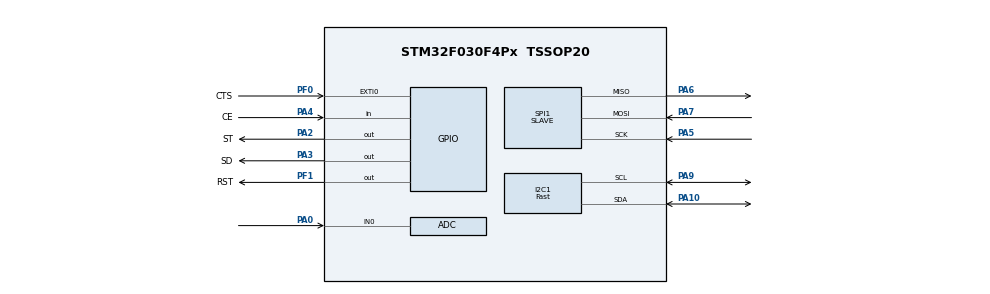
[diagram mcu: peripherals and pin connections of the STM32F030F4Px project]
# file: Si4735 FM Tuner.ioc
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ADC.ClockPrescaler=ADC_CLOCK_ASYNC_DIV1
ADC.ContinuousConvMode=ENABLE
ADC.EnableAnalogWatchDog=true
ADC.HighThreshold=3100
ADC.ITMode=ENABLE
ADC.LowThreshold=1200
ADC.Overrun=ADC_OVR_DATA_OVERWRITTEN
ADC.SamplingTime=ADC_SAMPLETIME_55CYCLES_5
I2C1.Analog_Filter=I2C_ANALOGFILTER_ENABLE
I2C1.I2C_Fall_Time=0
I2C1.I2C_Rise_Time=0
I2C1.I2C_Speed_Mode=I2C_Fast
I2C1.NoStretchMode=I2C_NOSTRETCH_DISABLE
I2C1.Speed=400
I2C1.Timing=0x0000020B
Mcu.Family=STM32F0
Mcu.Name=STM32F030F4Px
Mcu.Package=TSSOP20
NVIC.ADC1_IRQn=true\:0\:0\:false\:false\:true\:true\:true
NVIC.EXTI0_1_IRQn=true\:3\:0\:true\:false\:true\:true\:true
NVIC.SPI1_IRQn=true\:1\:0\:true\:false\:false\:true\:true
PA0.Mode=IN0
PA0.Signal=ADC_IN0
PA10.GPIO_FMA10=__NULL
PA10.GPIO_Mode=GPIO_MODE_AF_OD
PA10.GPIO_PuPdOD=GPIO_PULLUP
PA10.GPIO_Speed=GPIO_SPEED_FREQ_HIGH
PA10.Mode=I2C
PA10.Signal=I2C1_SDA
PA2.GPIO_Label=ST
PA2.GPIO_ModeDefaultOutputPP=GPIO_MODE_OUTPUT_PP
PA2.GPIO_PuPd=GPIO_NOPULL
PA2.GPIO_Speed=GPIO_SPEED_FREQ_LOW
PA2.PinState=GPIO_PIN_RESET
PA2.Signal=GPIO_Output
PA3.GPIO_Label=SD
PA3.GPIO_ModeDefaultOutputPP=GPIO_MODE_OUTPUT_PP
PA3.GPIO_PuPd=GPIO_NOPULL
PA3.GPIO_Speed=GPIO_SPEED_FREQ_LOW
PA3.PinState=GPIO_PIN_RESET
PA3.Signal=GPIO_Output
PA4.GPIO_Label=CE
PA4.GPIO_Mode=GPIO_MODE_INPUT
PA4.GPIO_PuPd=GPIO_NOPULL
PA4.Signal=GPIO_Input
PA5.GPIO_Mode=GPIO_MODE_AF_PP
PA5.GPIO_PuPd=GPIO_NOPULL
PA5.GPIO_Speed=GPIO_SPEED_FREQ_HIGH
PA5.Mode=Full_Duplex_Slave
PA5.Signal=SPI1_SCK
PA6.GPIO_Mode=GPIO_MODE_AF_PP
PA6.GPIO_PuPd=GPIO_NOPULL
PA6.GPIO_Speed=GPIO_SPEED_FREQ_HIGH
PA6.Mode=Full_Duplex_Slave
PA6.Signal=SPI1_MISO
PA7.GPIO_Mode=GPIO_MODE_AF_PP
PA7.GPIO_PuPd=GPIO_NOPULL
PA7.GPIO_Speed=GPIO_SPEED_FREQ_HIGH
PA7.Mode=Full_Duplex_Slave
PA7.Signal=SPI1_MOSI
PA9.GPIO_FMA9=__NULL
PA9.GPIO_Mode=GPIO_MODE_AF_OD
PA9.GPIO_PuPdOD=GPIO_PULLUP
PA9.GPIO_Speed=GPIO_SPEED_FREQ_HIGH
PA9.Mode=I2C
PA9.Signal=I2C1_SCL
PB1.GPIO_Label=RDS
PB1.Signal=TIM1_CH3N
PF0-OSC_IN.GPIO_Label=CTS
PF0-OSC_IN.GPIO_ModeDefaultEXTI=GPIO_MODE_IT_RISING
PF0-OSC_IN.GPIO_PuPd=GPIO_NOPULL
PF0-OSC_IN.Signal=GPXTI0
PF1-OSC_OUT.GPIO_Label=RST
PF1-OSC_OUT.GPIO_ModeDefaultOutputPP=GPIO_MODE_OUTPUT_PP
PF1-OSC_OUT.GPIO_PuPd=GPIO_NOPULL
PF1-OSC_OUT.GPIO_Speed=GPIO_SPEED_FREQ_LOW
PF1-OSC_OUT.PinState=GPIO_PIN_RESET
PF1-OSC_OUT.Signal=GPIO_Output
ProjectManager.HeapSize=0x200
ProjectManager.StackSize=0x400
ProjectManager.TargetToolchain=EWARM V8
RCC.I2c1ClockSelection=RCC_I2C1CLKSOURCE_SYSCLK
SPI1.CLKPhase=SPI_PHASE_2EDGE
SPI1.CLKPolarity=SPI_POLARITY_HIGH
SPI1.DataSize=SPI_DATASIZE_8BIT
SPI1.Direction=SPI_DIRECTION_2LINES
SPI1.FirstBit=SPI_FIRSTBIT_LSB
SPI1.Mode=SPI_MODE_SLAVE
SPI1.VirtualType=VM_SLAVE
board=custom

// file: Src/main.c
/* USER CODE BEGIN Header */
/**
  ******************************************************************************
  * @file           : main.c
  * @brief          : Main program body
  ******************************************************************************
  * @attention
  *
  * <h2><center>&copy; Copyright (c) 2019 STMicroelectronics.
  * All rights reserved.</center></h2>
  *
  * This software component is licensed by ST under BSD 3-Clause license,
  * the "License"; You may not use this file except in compliance with the
  * License. You may obtain a copy of the License at:
  *                        opensource.org/licenses/BSD-3-Clause
  *
  ******************************************************************************
  */
/* USER CODE END Header */

#include "main.h"

/* USER CODE BEGIN Includes */
#include "stdbool.h"
/* USER CODE END Includes */

/* USER CODE BEGIN PTD */
typedef struct
{
  uint8_t address;
  uint8_t data[3];
} ccb_t;

typedef enum
{
  MONO,
  STEREO
} tuner_mode;
/* USER CODE END PTD */

/* USER CODE BEGIN PD */

//#define __CCB_DEBUG__
//#define __RADIO_DEBUG__

#define radio_request_address 0x22
#define radio_response_address 0x23
#define radio_io_timeout 10
#define radio_force_mono_threshold 0x7F
#define radio_default_stereo_threshold 0x0E
#define virtual_if_frequency 10650
#define stereo_detection_delay 1000
#define radio_stc_poll_interval 10
#define radio_rsq_poll_interval 300
#define radio_rds_poll_interval 2000
/* USER CODE END PD */

ADC_HandleTypeDef hadc;

I2C_HandleTypeDef hi2c1;

/* USER CODE BEGIN PV */
const uint8_t radio_power_up[]                        =   {0x01, 0xD0, 0x05}; // startup, GPO2/CTS enabled, XOSC enabled, fm reeceive, analog output
const uint8_t radio_fm_deemphasis[]                   =   {0x12, 0x00, 0x11, 0x00, 0x00, 0x01}; // de-emphasis = 50us
const uint8_t radio_fm_rds_int_source[]               =   {0x12, 0x00, 0x15, 0x00, 0x00, 0x01}; // generate RDSINT when RDS FIFO has at least FM_RDS_INT_FIFO_COUNT entries
const uint8_t radio_fm_rds_int_fifo_count[]           =   {0x12, 0x00, 0x15, 0x01, 0x00, 0x04}; // FM_RDS_INT_FIFO_COUNT = 4
const uint8_t radio_fm_rds_config[]                   =   {0x12, 0x00, 0x15, 0x02, 0x00, 0x01}; // RDS processing enabled
const uint8_t radio_get_int_status[]                  =   {0x14}; // wait for tune completion
const uint8_t radio_fm_rsq_status[]                   =   {0x23, 0x00};
const uint8_t radio_fm_rds_status[]                   =   {0x24, 0x01};
const uint8_t radio_fm_tune_status[]                  =   {0x22, 0x01}; // clear STCINT bit
const uint8_t ccb_if_counter[]                        =   {0x58, 0x66, 0x81}; // bit-reversed from 0x1A6680+1 (IF=10,65MHz, real value readed from my Technics SA-EH570)
//const uint8_t ccb_if_counter[]                        =   {0x58, 0xCE, 0x80}; // bit-reversed from 0x1A7300+1 (IF=10,7MHz)

uint8_t radio_fm_tune_freq[]                          =   {0x20, 0x00, 0x29, 0x7C, 0x00};
uint8_t radio_fm_blend_snr_mono_threshold[]           =   {0x12, 0x00, 0x18, 0x05, 0x00, 0x0E};
uint8_t radio_response[16];

volatile uint8_t* radio_response_data = 0;
volatile uint8_t radio_response_size = 0;
volatile bool radio_cts = false;
bool radio_tuned = true;

uint32_t tuner_frequency_new = 0;
uint32_t tuner_frequency_prev = 0;
tuner_mode tuner_mode_new = STEREO;
tuner_mode tuner_mode_prev = STEREO;
uint32_t stereo_detection_delay_counter = 0;
bool stereo_detection_enabled = false;

volatile ccb_t ccb;
volatile uint32_t ccb_bytes_received = 0;
ccb_t ccb_snapshot;
uint32_t ccb_bytes_snapshot;

HAL_StatusTypeDef status;

#ifdef __CCB_DEBUG__
uint8_t ccb_captured_data[36];
#endif
/* USER CODE END PV */

void SystemClock_Config(void);
static void MX_GPIO_Init(void);
static void MX_ADC_Init(void);
static void MX_I2C1_Init(void);
static void MX_SPI1_Init(void);

/* USER CODE BEGIN 0 */
void radio_reset( bool enabled )
{
  HAL_GPIO_WritePin( RST_GPIO_Port, RST_Pin, enabled ? GPIO_PIN_RESET : GPIO_PIN_SET );
}

void carrier_detected( bool detected )
{
  // set SD=0 to indicate that the carrier is detected
  HAL_GPIO_WritePin( SD_GPIO_Port, SD_Pin, detected ? GPIO_PIN_RESET : GPIO_PIN_SET );
}

void stereo_indicator( bool enabled )
{
  // DO/ST line has two main purposes:
  // 1) stereo indicator when radio is tuned (ST=0 when stereo subcarrier is detected)
  // 2) IF counter stop flag when radio tune is in progress (DO=0 when counter is stopped)
  HAL_GPIO_WritePin( ST_GPIO_Port, ST_Pin, enabled ? GPIO_PIN_RESET : GPIO_PIN_SET );
}

HAL_StatusTypeDef radio_request( const uint8_t *request_data, uint8_t request_size, uint8_t *response_data, uint8_t response_size )
{
  HAL_StatusTypeDef status = HAL_ERROR;
  radio_cts = false;

  if( request_data && request_size )
    status = HAL_I2C_Master_Transmit( &hi2c1, radio_request_address, (uint8_t*) request_data, request_size, radio_io_timeout );

  while( !radio_cts );

  if( response_data && response_size && status == HAL_OK )
  {
    status = HAL_I2C_Master_Receive( &hi2c1, radio_response_address, response_data, response_size, radio_io_timeout );

    // There is a bug in the HAL_I2C_Master_Receive(). This function can return fake HAL_TIMEOUT error if there was a small
    // delay (e.g. systick interrupt) between RXNE and STOPF polling in the I2C_WaitOnRXNEFlagUntilTimeout().
    // To work it around we need to read RX byte, place it to the last byte of the response_data, and safely ignore the error
    if( status == HAL_TIMEOUT &&  HAL_I2C_GetError(&hi2c1) == HAL_I2C_ERROR_NONE )
    {
      response_data[response_size-1] = hi2c1.Instance->RXDR;
      status = HAL_OK;
    }
  }

  return( status );
}

void HAL_ADC_LevelOutOfWindowCallback( ADC_HandleTypeDef* hadc )
{
  // input voltage is out of range, going to the radio reset
  radio_reset( true );
  while(1);
}

void HAL_GPIO_EXTI_Callback( uint16_t GPIO_Pin )
{
  if( GPIO_Pin == CTS_Pin )
    radio_cts = true;
}

void SPI1_IRQHandler()
{
  if( HAL_GPIO_ReadPin( CE_GPIO_Port, CE_Pin ) == GPIO_PIN_RESET ) // address
  {
    ccb.address = LL_SPI_ReceiveData8( SPI1 );
    ccb_bytes_received = 0;
  }
  else // data
  {
    if( ccb_bytes_received < 3 )
    {
      ccb.data[ccb_bytes_received] = LL_SPI_ReceiveData8( SPI1 );
      ccb_bytes_received++;
    }
  }
}
/* USER CODE END 0 */

int main(void)
{

  /* MCU Configuration--------------------------------------------------------*/

  /* Reset of all peripherals, Initializes the Flash interface and the Systick. */
  HAL_Init();

  /* Configure the system clock */
  SystemClock_Config();

  /* Initialize all configured peripherals */
  MX_GPIO_Init();
  MX_ADC_Init();
  MX_I2C1_Init();
  MX_SPI1_Init();
  /* USER CODE BEGIN 2 */

#if !defined __CCB_DEBUG__ && !defined __RADIO_DEBUG__
  // CCB is not fully compatible with SPI
  // so we need to adjust SPI polarity and phase manually to work correctly
  // in cases of 1) normal system startup and 2) MCU debug/reset
  LL_SPI_SetClockPolarity( SPI1, LL_SPI_POLARITY_LOW );
  LL_SPI_SetClockPhase( SPI1, LL_SPI_PHASE_1EDGE );
#endif

  LL_SPI_Enable( SPI1 ); // Enable SPI as soon as possible to keep the bus in sync with the main CPU
  LL_SPI_EnableIT_RXNE( SPI1 );
  LL_SPI_TransmitData8( SPI1, 0xFF ); // switch MISO/DO to high level as a default
  stereo_indicator( false );

  HAL_Delay( 100 ); // delay for correct radio powerup
  HAL_ADCEx_Calibration_Start( &hadc );
  HAL_ADC_Start( &hadc ); // enable power monitor

  //HAL_TIMEx_PWMN_Start( &htim1, TIM_CHANNEL_3 );

  radio_reset( false ); // enable radio
  HAL_Delay( 1 );

  status = radio_request( radio_power_up, sizeof(radio_power_up), radio_response, 1 );
  HAL_Delay( 500 ); // awaiting for crystal startup
  status = radio_request( radio_fm_tune_freq, sizeof(radio_fm_tune_freq), radio_response, 1 );

  do
    status = radio_request( radio_get_int_status, sizeof(radio_get_int_status), radio_response, 1 );
  while( radio_response[0] != 0x81 );

  status = radio_request( radio_fm_tune_status, sizeof(radio_fm_tune_status), radio_response, 8 );
  status =   radio_request( radio_fm_deemphasis, sizeof(radio_fm_deemphasis), radio_response, 1 );
  HAL_Delay( 10 ); // delay needed after each set_property command

//  status = radio_request( radio_fm_rds_config, sizeof(radio_fm_rds_config), radio_response, 1 );
//  HAL_Delay( 10 ); // delay needed after each set_property command
//
//  status = radio_request( radio_fm_rds_int_source, sizeof(radio_fm_rds_int_source), radio_response, 1 );
//  HAL_Delay( 10 ); // delay needed after each set_property command
//
//  status = radio_request( radio_fm_rds_int_fifo_count, sizeof(radio_fm_rds_int_fifo_count), radio_response, 1 );
//  HAL_Delay( 10 ); // delay needed after each set_property command

#ifdef __CCB_DEBUG__
  uint32_t i = 0;
  LL_SPI_DisableIT_RXNE( SPI1 );

  while(1)
  {
    // use ST-LINK debugger to stop the loop and show captured data
    if( LL_SPI_GetRxFIFOLevel(SPI1) != LL_SPI_RX_FIFO_EMPTY )
    {
      ccb_captured_data[i++] = LL_SPI_ReceiveData8( SPI1 );

      if( i == sizeof(ccb_captured_data) )
        i = 0;
    }
  };
#endif

#ifdef __RADIO_DEBUG__
  while(1)
  {
    // use ST-LINK debugger to stop the loop and show requested RSQ data
    status = radio_request( radio_fm_rsq_status, sizeof(radio_fm_rsq_status), radio_response, 8 );
    HAL_Delay( 500 );
//    status = radio_request( radio_get_int_status, sizeof(radio_get_int_status), radio_response, 1 );
//    status = radio_request( radio_fm_rds_status, sizeof(radio_fm_rds_status), radio_response, 13 );
  }
#endif
  /* USER CODE END 2 */

  /* Infinite loop */
  while (1)
  {

    /* USER CODE BEGIN 3 */
    __disable_irq();
      *(uint32_t*) &ccb_snapshot = *(uint32_t*) &ccb; // fast atomic 32-bit copy
      ccb_bytes_snapshot = ccb_bytes_received;
    __enable_irq();

    if( ccb_snapshot.address == 0x2A ) // IF counter read requested
    {
      ccb.address = 0;
      stereo_indicator( false );

      LL_SPI_TransmitData8( SPI1, ccb_if_counter[0] );
      LL_SPI_TransmitData8( SPI1, ccb_if_counter[1] );
      LL_SPI_TransmitData8( SPI1, ccb_if_counter[2] );
    }

    if( ccb_bytes_snapshot == 3 )
    {
      ccb.address = 0;

      if( ccb_snapshot.address == 0x29 && ccb_snapshot.data[1] == 0x00 && ccb_snapshot.data[2] == 0x13 ) // mono/stereo selection performed
      {
        switch( ccb_snapshot.data[0] )
        {
        case 0xAF: // force mono
          tuner_mode_new = MONO;

          if( tuner_mode_new != tuner_mode_prev )
          {
            tuner_mode_prev = tuner_mode_new;
            radio_fm_blend_snr_mono_threshold[5] = radio_force_mono_threshold;
            status = radio_request( radio_fm_blend_snr_mono_threshold, sizeof(radio_fm_blend_snr_mono_threshold), radio_response, 1 );
          }
          break;

        case 0xA7: // auto
          tuner_mode_new = STEREO;

          if( tuner_mode_new != tuner_mode_prev )
          {
            tuner_mode_prev = tuner_mode_new;
            radio_fm_blend_snr_mono_threshold[5] = radio_default_stereo_threshold;
            status = radio_request( radio_fm_blend_snr_mono_threshold, sizeof(radio_fm_blend_snr_mono_threshold), radio_response, 1 );
          }
          break;
        }
      }

      if( ccb_snapshot.address == 0x28 && ccb_snapshot.data[2] == 0x3B ) // tuner frequency set
      {
        tuner_frequency_new = ccb_snapshot.data[0] + (ccb_snapshot.data[1] << 8);

        if( tuner_frequency_new != tuner_frequency_prev )
        {
          tuner_frequency_prev = tuner_frequency_new;

          tuner_frequency_new = (tuner_frequency_new * 25 * 2 - virtual_if_frequency) / 10;
          radio_fm_tune_freq[2] = (tuner_frequency_new >> 8) & 0xFF;
          radio_fm_tune_freq[3] = tuner_frequency_new & 0xFF;
          status = radio_request( radio_fm_tune_freq, sizeof(radio_fm_tune_freq), radio_response, 1 );

          carrier_detected( false );
          stereo_indicator( false );
          radio_tuned = false;
          stereo_detection_enabled = false;
          stereo_detection_delay_counter = HAL_GetTick();
        }
      }

      if( ccb_snapshot.address == 0x28 && ccb_snapshot.data[2] == 0x3F ) // IF count started
      {
        stereo_indicator( true ); // here used as IF counter stop flag, triggers IF counter read operation
      }
    }

    if( !radio_tuned && (HAL_GetTick() % radio_stc_poll_interval == 0) )
    {
      status = radio_request( radio_get_int_status, sizeof(radio_get_int_status), radio_response, 1 );

      if( radio_response[0] & 0x01 ) // check STCINT
      {
        radio_tuned = true;
        status = radio_request( radio_fm_tune_status, sizeof(radio_fm_tune_status), radio_response, 8 );

        if( (radio_response[1] & 0x03) == 0x01 ) // AFCRL=0, VALID=1
          carrier_detected( true );
      }
    }

    if( radio_tuned && !stereo_detection_enabled && (HAL_GetTick() - stereo_detection_delay_counter > stereo_detection_delay) )
      stereo_detection_enabled = true;

    if( stereo_detection_enabled && (HAL_GetTick() % radio_rsq_poll_interval == 0) )
    {
      status = radio_request( radio_fm_rsq_status, sizeof(radio_fm_rsq_status), radio_response, 8 );
      stereo_indicator( radio_response[3] > 0x80 );
    }

    if( stereo_detection_enabled && (HAL_GetTick() % radio_rds_poll_interval == 0) )
    {
      // status = radio_request( radio_fm_rds_status, sizeof(radio_fm_rds_status), radio_response, 13 );
    }

    HAL_PWR_EnterSLEEPMode( PWR_MAINREGULATOR_ON, PWR_SLEEPENTRY_WFI );
  }
  /* USER CODE END 3 */
}

void SystemClock_Config(void)
{
  RCC_OscInitTypeDef RCC_OscInitStruct = {0};
  RCC_ClkInitTypeDef RCC_ClkInitStruct = {0};
  RCC_PeriphCLKInitTypeDef PeriphClkInit = {0};

  /** Initializes the CPU, AHB and APB busses clocks
  */
  RCC_OscInitStruct.OscillatorType = RCC_OSCILLATORTYPE_HSI|RCC_OSCILLATORTYPE_HSI14;
  RCC_OscInitStruct.HSIState = RCC_HSI_ON;
  RCC_OscInitStruct.HSI14State = RCC_HSI14_ON;
  RCC_OscInitStruct.HSICalibrationValue = RCC_HSICALIBRATION_DEFAULT;
  RCC_OscInitStruct.HSI14CalibrationValue = 16;
  RCC_OscInitStruct.PLL.PLLState = RCC_PLL_NONE;
  if (HAL_RCC_OscConfig(&RCC_OscInitStruct) != HAL_OK)
  {
    Error_Handler();
  }
  /** Initializes the CPU, AHB and APB busses clocks
  */
  RCC_ClkInitStruct.ClockType = RCC_CLOCKTYPE_HCLK|RCC_CLOCKTYPE_SYSCLK
                              |RCC_CLOCKTYPE_PCLK1;
  RCC_ClkInitStruct.SYSCLKSource = RCC_SYSCLKSOURCE_HSI;
  RCC_ClkInitStruct.AHBCLKDivider = RCC_SYSCLK_DIV1;
  RCC_ClkInitStruct.APB1CLKDivider = RCC_HCLK_DIV1;

  if (HAL_RCC_ClockConfig(&RCC_ClkInitStruct, FLASH_LATENCY_0) != HAL_OK)
  {
    Error_Handler();
  }
  PeriphClkInit.PeriphClockSelection = RCC_PERIPHCLK_I2C1;
  PeriphClkInit.I2c1ClockSelection = RCC_I2C1CLKSOURCE_SYSCLK;
  if (HAL_RCCEx_PeriphCLKConfig(&PeriphClkInit) != HAL_OK)
  {
    Error_Handler();
  }
}

static void MX_ADC_Init(void)
{

  ADC_ChannelConfTypeDef sConfig = {0};
  ADC_AnalogWDGConfTypeDef AnalogWDGConfig = {0};

  /** Configure the global features of the ADC (Clock, Resolution, Data Alignment and number of conversion)
  */
  hadc.Instance = ADC1;
  hadc.Init.ClockPrescaler = ADC_CLOCK_ASYNC_DIV1;
  hadc.Init.Resolution = ADC_RESOLUTION_12B;
  hadc.Init.DataAlign = ADC_DATAALIGN_RIGHT;
  hadc.Init.ScanConvMode = ADC_SCAN_DIRECTION_FORWARD;
  hadc.Init.EOCSelection = ADC_EOC_SINGLE_CONV;
  hadc.Init.LowPowerAutoWait = DISABLE;
  hadc.Init.LowPowerAutoPowerOff = DISABLE;
  hadc.Init.ContinuousConvMode = ENABLE;
  hadc.Init.DiscontinuousConvMode = DISABLE;
  hadc.Init.ExternalTrigConv = ADC_SOFTWARE_START;
  hadc.Init.ExternalTrigConvEdge = ADC_EXTERNALTRIGCONVEDGE_NONE;
  hadc.Init.DMAContinuousRequests = DISABLE;
  hadc.Init.Overrun = ADC_OVR_DATA_OVERWRITTEN;
  if (HAL_ADC_Init(&hadc) != HAL_OK)
  {
    Error_Handler();
  }
  /** Configure for the selected ADC regular channel to be converted.
  */
  sConfig.Channel = ADC_CHANNEL_0;
  sConfig.Rank = ADC_RANK_CHANNEL_NUMBER;
  sConfig.SamplingTime = ADC_SAMPLETIME_55CYCLES_5;
  if (HAL_ADC_ConfigChannel(&hadc, &sConfig) != HAL_OK)
  {
    Error_Handler();
  }
  /** Configure the analog watchdog
  */
  AnalogWDGConfig.WatchdogMode = ADC_ANALOGWATCHDOG_SINGLE_REG;
  AnalogWDGConfig.Channel = ADC_CHANNEL_0;
  AnalogWDGConfig.ITMode = ENABLE;
  AnalogWDGConfig.HighThreshold = 3100;
  AnalogWDGConfig.LowThreshold = 1200;
  if (HAL_ADC_AnalogWDGConfig(&hadc, &AnalogWDGConfig) != HAL_OK)
  {
    Error_Handler();
  }

}

static void MX_I2C1_Init(void)
{

  hi2c1.Instance = I2C1;
  hi2c1.Init.Timing = 0x0000020B;
  hi2c1.Init.OwnAddress1 = 0;
  hi2c1.Init.AddressingMode = I2C_ADDRESSINGMODE_7BIT;
  hi2c1.Init.DualAddressMode = I2C_DUALADDRESS_DISABLE;
  hi2c1.Init.OwnAddress2 = 0;
  hi2c1.Init.OwnAddress2Masks = I2C_OA2_NOMASK;
  hi2c1.Init.GeneralCallMode = I2C_GENERALCALL_DISABLE;
  hi2c1.Init.NoStretchMode = I2C_NOSTRETCH_DISABLE;
  if (HAL_I2C_Init(&hi2c1) != HAL_OK)
  {
    Error_Handler();
  }
  /** Configure Analogue filter
  */
  if (HAL_I2CEx_ConfigAnalogFilter(&hi2c1, I2C_ANALOGFILTER_ENABLE) != HAL_OK)
  {
    Error_Handler();
  }
  /** Configure Digital filter
  */
  if (HAL_I2CEx_ConfigDigitalFilter(&hi2c1, 0) != HAL_OK)
  {
    Error_Handler();
  }

}

static void MX_SPI1_Init(void)
{

  LL_SPI_InitTypeDef SPI_InitStruct = {0};

  LL_GPIO_InitTypeDef GPIO_InitStruct = {0};

  /* Peripheral clock enable */
  LL_APB1_GRP2_EnableClock(LL_APB1_GRP2_PERIPH_SPI1);

  LL_AHB1_GRP1_EnableClock(LL_AHB1_GRP1_PERIPH_GPIOA);
  /**SPI1 GPIO Configuration
  PA5   ------> SPI1_SCK
  PA6   ------> SPI1_MISO
  PA7   ------> SPI1_MOSI
  */
  GPIO_InitStruct.Pin = LL_GPIO_PIN_5;
  GPIO_InitStruct.Mode = LL_GPIO_MODE_ALTERNATE;
  GPIO_InitStruct.Speed = LL_GPIO_SPEED_FREQ_HIGH;
  GPIO_InitStruct.OutputType = LL_GPIO_OUTPUT_PUSHPULL;
  GPIO_InitStruct.Pull = LL_GPIO_PULL_NO;
  GPIO_InitStruct.Alternate = LL_GPIO_AF_0;
  LL_GPIO_Init(GPIOA, &GPIO_InitStruct);

  GPIO_InitStruct.Pin = LL_GPIO_PIN_6;
  GPIO_InitStruct.Mode = LL_GPIO_MODE_ALTERNATE;
  GPIO_InitStruct.Speed = LL_GPIO_SPEED_FREQ_HIGH;
  GPIO_InitStruct.OutputType = LL_GPIO_OUTPUT_PUSHPULL;
  GPIO_InitStruct.Pull = LL_GPIO_PULL_NO;
  GPIO_InitStruct.Alternate = LL_GPIO_AF_0;
  LL_GPIO_Init(GPIOA, &GPIO_InitStruct);

  GPIO_InitStruct.Pin = LL_GPIO_PIN_7;
  GPIO_InitStruct.Mode = LL_GPIO_MODE_ALTERNATE;
  GPIO_InitStruct.Speed = LL_GPIO_SPEED_FREQ_HIGH;
  GPIO_InitStruct.OutputType = LL_GPIO_OUTPUT_PUSHPULL;
  GPIO_InitStruct.Pull = LL_GPIO_PULL_NO;
  GPIO_InitStruct.Alternate = LL_GPIO_AF_0;
  LL_GPIO_Init(GPIOA, &GPIO_InitStruct);

  /* SPI1 interrupt Init */
  NVIC_SetPriority(SPI1_IRQn, 1);
  NVIC_EnableIRQ(SPI1_IRQn);

  /* SPI1 parameter configuration*/
  SPI_InitStruct.TransferDirection = LL_SPI_FULL_DUPLEX;
  SPI_InitStruct.Mode = LL_SPI_MODE_SLAVE;
  SPI_InitStruct.DataWidth = LL_SPI_DATAWIDTH_8BIT;
  SPI_InitStruct.ClockPolarity = LL_SPI_POLARITY_HIGH;
  SPI_InitStruct.ClockPhase = LL_SPI_PHASE_2EDGE;
  SPI_InitStruct.NSS = LL_SPI_NSS_SOFT;
  SPI_InitStruct.BitOrder = LL_SPI_LSB_FIRST;
  SPI_InitStruct.CRCCalculation = LL_SPI_CRCCALCULATION_DISABLE;
  SPI_InitStruct.CRCPoly = 7;
  LL_SPI_Init(SPI1, &SPI_InitStruct);
  LL_SPI_SetStandard(SPI1, LL_SPI_PROTOCOL_MOTOROLA);
  LL_SPI_DisableNSSPulseMgt(SPI1);
  /* USER CODE BEGIN SPI1_Init 2 */
  LL_SPI_SetRxFIFOThreshold( SPI1, LL_SPI_RX_FIFO_TH_QUARTER );
  /* USER CODE END SPI1_Init 2 */

}

static void MX_GPIO_Init(void)
{
  GPIO_InitTypeDef GPIO_InitStruct = {0};

  /* GPIO Ports Clock Enable */
  __HAL_RCC_GPIOF_CLK_ENABLE();
  __HAL_RCC_GPIOA_CLK_ENABLE();
  __HAL_RCC_GPIOB_CLK_ENABLE();

  /*Configure GPIO pin Output Level */
  HAL_GPIO_WritePin(RST_GPIO_Port, RST_Pin, GPIO_PIN_RESET);

  /*Configure GPIO pin Output Level */
  HAL_GPIO_WritePin(GPIOA, ST_Pin|SD_Pin, GPIO_PIN_RESET);

  /*Configure GPIO pin : CTS_Pin */
  GPIO_InitStruct.Pin = CTS_Pin;
  GPIO_InitStruct.Mode = GPIO_MODE_IT_RISING;
  GPIO_InitStruct.Pull = GPIO_NOPULL;
  HAL_GPIO_Init(CTS_GPIO_Port, &GPIO_InitStruct);

  /*Configure GPIO pin : RST_Pin */
  GPIO_InitStruct.Pin = RST_Pin;
  GPIO_InitStruct.Mode = GPIO_MODE_OUTPUT_PP;
  GPIO_InitStruct.Pull = GPIO_NOPULL;
  GPIO_InitStruct.Speed = GPIO_SPEED_FREQ_LOW;
  HAL_GPIO_Init(RST_GPIO_Port, &GPIO_InitStruct);

  /*Configure GPIO pins : ST_Pin SD_Pin */
  GPIO_InitStruct.Pin = ST_Pin|SD_Pin;
  GPIO_InitStruct.Mode = GPIO_MODE_OUTPUT_PP;
  GPIO_InitStruct.Pull = GPIO_NOPULL;
  GPIO_InitStruct.Speed = GPIO_SPEED_FREQ_LOW;
  HAL_GPIO_Init(GPIOA, &GPIO_InitStruct);

  /*Configure GPIO pin : CE_Pin */
  GPIO_InitStruct.Pin = CE_Pin;
  GPIO_InitStruct.Mode = GPIO_MODE_INPUT;
  GPIO_InitStruct.Pull = GPIO_NOPULL;
  HAL_GPIO_Init(CE_GPIO_Port, &GPIO_InitStruct);

  /*Configure GPIO pin : RDS_Pin */
  GPIO_InitStruct.Pin = RDS_Pin;
  GPIO_InitStruct.Mode = GPIO_MODE_AF_PP;
  GPIO_InitStruct.Pull = GPIO_NOPULL;
  GPIO_InitStruct.Speed = GPIO_SPEED_FREQ_LOW;
  GPIO_InitStruct.Alternate = GPIO_AF2_TIM1;
  HAL_GPIO_Init(RDS_GPIO_Port, &GPIO_InitStruct);

  /* EXTI interrupt init*/
  HAL_NVIC_SetPriority(EXTI0_1_IRQn, 3, 0);
  HAL_NVIC_EnableIRQ(EXTI0_1_IRQn);

}

void Error_Handler(void)
{
  /* USER CODE BEGIN Error_Handler_Debug */
  /* User can add his own implementation to report the HAL error return state */
  while(1);
  /* USER CODE END Error_Handler_Debug */
}

#ifdef  USE_FULL_ASSERT
/**
  * @brief  Reports the name of the source file and the source line number
  *         where the assert_param error has occurred.
  * @param  file: pointer to the source file name
  * @param  line: assert_param error line source number
  * @retval None
  */
void assert_failed(char *file, uint32_t line)
{
  /* USER CODE BEGIN 6 */
  /* User can add his own implementation to report the file name and line number,
     tex: printf("Wrong parameters value: file %s on line %d\r\n", file, line) */
  while(1);
  /* USER CODE END 6 */
}
#endif /* USE_FULL_ASSERT */

/************************ (C) COPYRIGHT STMicroelectronics *****END OF FILE****/
